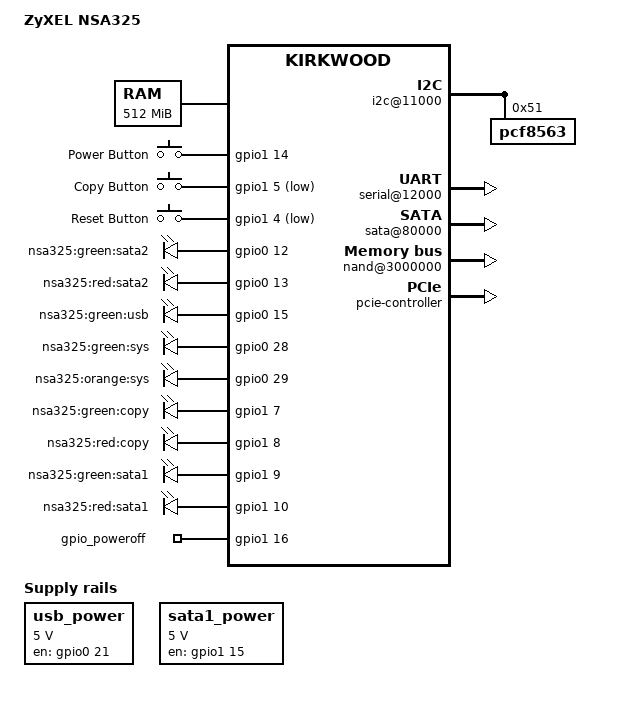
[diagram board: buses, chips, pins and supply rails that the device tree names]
/dts-v1/;

/include/ "kirkwood.dtsi"
/include/ "kirkwood-6282.dtsi"

/ {
	model = "ZyXEL NSA325";
	compatible = "zyxel,nsa325", "marvell,kirkwood-88f6282", "marvell,kirkwood";

	memory {
		device_type = "memory";
		reg = <0x00000000 0x20000000>;
	};

	chosen {
		bootargs = "console=ttyS0,115200";
	};

	ocp@f1000000 {
		pinctrl: pinctrl@10000 {
			pmx_led_sata2_green: pmx-led-sata2-green {
				marvell,pins = "mpp12";
				marvell,function = "gpo";
			};

			pmx_led_sata2_red: pmx-led-sata2-red {
				marvell,pins = "mpp13";
				marvell,function = "gpio";
			};

			pmx_led_mcu_data: pmx-led-mcu-data {
				marvell,pins = "mpp14";
				marvell,function = "gpio";
			};

			pmx_led_usb_green: pmx-led-usb-green {
				marvell,pins = "mpp15";
				marvell,function = "gpio";
			};

			pmx_led_mcu_clk: pmx-led-mcu-clk {
				marvell,pins = "mpp16";
				marvell,function = "gpio";
			};

			pmx_led_mcu_act: pmx-led-mcu-act {
				marvell,pins = "mpp17";
				marvell,function = "gpio";
			};

			pmx_usb_power_off: pmx-usb-power-off {
				marvell,pins = "mpp21";
				marvell,function = "gpio";
			};

			pmx_led_sys_green: pmx-led-sys-green {
				marvell,pins = "mpp28";
				marvell,function = "gpio";
			};

			pmx_led_sys_orange: pmx-led-sys-orange {
				marvell,pins = "mpp29";
				marvell,function = "gpio";
			};

			pmx_btn_reset: pmx-btn-reset {
				marvell,pins = "mpp36";
				marvell,function = "gpio";
			};

			pmx_btn_copy: pmx-btn-copy {
				marvell,pins = "mpp37";
				marvell,function = "gpio";
			};

			pmx_led_copy_green: pmx-led-copy-green {
				marvell,pins = "mpp39";
				marvell,function = "gpio";
			};

			pmx_led_copy_red: pmx-led-copy-red {
				marvell,pins = "mpp40";
				marvell,function = "gpio";
			};

			pmx_led_sata1_green: pmx-led-sata1-green {
				marvell,pins = "mpp41";
				marvell,function = "gpio";
			};

			pmx_led_sata1_red: pmx-led-sata1-red {
				marvell,pins = "mpp42";
				marvell,function = "gpio";
			};

			pmx_beeper: pmx-beeper {
				marvell,pins = "mpp44";
				marvell,function = "gpio";
			};

			pmx_btn_power: pmx-btn-power {
				marvell,pins = "mpp46";
				marvell,function = "gpio";
			};

			pmx_pwr_sata1: pmx-pwr-sata1 {
				marvell,pins = "mpp47";
				marvell,function = "gpio";
			};

			pmx_pwr_off: pmx-pwr-off {
				marvell,pins = "mpp48";
				marvell,function = "gpio";
			};
		};

		/* This board uses the pcf8563 RTC instead of the SoC RTC */
		rtc@10300 {
			status = "disabled";
		};

		i2c@11000 {
			status = "okay";
			pinctrl-0 = <&pmx_twsi0>;
			pinctrl-names = "default";

			pcf8563: pcf8563@51 {
				compatible = "pcf8563";
				reg = <0x51>;
			};
		};

		serial@12000 {
			pinctrl-0 = <&pmx_uart0>;
			pinctrl-names = "default";
			status = "ok";
		};

		sata@80000 {
			status = "okay";
			nr-ports = <2>;
		};

		nand@3000000 {
			pinctrl-0 = <&pmx_nand>;
			pinctrl-names = "default";
			status = "okay";
			chip-delay = <35>;

			partition@0 {
				label = "uboot";
				reg = <0x0000000 0x0100000>;
				read-only;
			};
			partition@100000 {
				label = "uboot_env";
				reg = <0x0100000 0x0080000>;
			};
			partition@180000 {
				label = "key_store";
				reg = <0x0180000 0x0080000>;
			};
			partition@200000 {
				label = "info";
				reg = <0x0200000 0x0080000>;
			};
			partition@280000 {
				label = "etc";
				reg = <0x0280000 0x0a00000>;
			};
			partition@c80000 {
				label = "kernel_1";
				reg = <0x0c80000 0x0a00000>;
			};
			partition@1680000 {
				label = "rootfs1";
				reg = <0x1680000 0x2fc0000>;
			};
			partition@4640000 {
				label = "kernel_2";
				reg = <0x4640000 0x0a00000>;
			};
			partition@5040000 {
				label = "rootfs2";
				reg = <0x5040000 0x2fc0000>;
			};
		};

		pcie-controller {
			status = "okay";

			pcie@1,0 {
				status = "okay";
			};
		};
	};

	gpio_keys {
		compatible = "gpio-keys";
		#address-cells = <1>;
		#size-cells = <0>;
		pinctrl-0 = <&pmx_btn_power &pmx_btn_copy &pmx_btn_reset>;
		pinctrl-names = "default";

		button@1 {
			label = "Power Button";
			linux,code = <116>;
			gpios = <&gpio1 14 0>;
		};

		button@2 {
			label = "Copy Button";
			linux,code = <133>;
			gpios = <&gpio1 5 1>;
		};

		button@3 {
			label = "Reset Button";
			linux,code = <0x198>;
			gpios = <&gpio1 4 1>;
		};
	};

	gpio-leds {
		compatible = "gpio-leds";
		pinctrl-0 = <&pmx_led_sata1_green &pmx_led_sata1_red
			     &pmx_led_sata2_green &pmx_led_sata2_red
			     &pmx_led_sys_green &pmx_led_sys_orange
			     &pmx_led_copy_green &pmx_led_copy_red
			     &pmx_led_usb_green>;
		pinctrl-names = "default";

		green-sata2 {
			label = "nsa325:green:sata2";
			gpios = <&gpio0 12 0>;
		};

		red-sata2 {
			label = "nsa325:red:sata2";
			gpios = <&gpio0 13 0>;
		};

		green-usb {
			label = "nsa325:green:usb";
			gpios = <&gpio0 15 0>;
		};

		green-sys {
			label = "nsa325:green:sys";
			gpios = <&gpio0 28 0>;
			linux,default-trigger = "default-on";
		};

		orange-sys {
			label = "nsa325:orange:sys";
			gpios = <&gpio0 29 0>;
			linux,default-trigger = "cpu0";
		};

		green-copy {
			label = "nsa325:green:copy";
			gpios = <&gpio1 7 0>;
		};

		red-copy {
			label = "nsa325:red:copy";
			gpios = <&gpio1 8 0>;
		};

		green-sata1 {
			label = "nsa325:green:sata1";
			gpios = <&gpio1 9 0>;
		};

		red-sata1 {
			label = "nsa325:red:sata1";
			gpios = <&gpio1 10 0>;
		};
	};

	gpio_poweroff {
		compatible = "gpio-poweroff";
		pinctrl-0 = <&pmx_pwr_off>;
		pinctrl-names = "default";
		gpios = <&gpio1 16 0>;
	};

	regulators {
		compatible = "simple-bus";
		#address-cells = <1>;
		#size-cells = <0>;
		pinctrl-0 = <&pmx_led_mcu_data &pmx_usb_power_off &pmx_pwr_sata1>;
		pinctrl-names = "default";

/*
		watchdog_data: regulator@1 {
			compatible = "regulator-fixed";
			regulator-name = "Watchdog Data";
			regulator-min-microvolt = <5000000>;
			regulator-max-microvolt = <5000000>;
			regulator-always-on;
			regulator-boot-on;
			gpio = <&gpio0 14 0>;
		};
*/

		usb_power: regulator@2 {
			compatible = "regulator-fixed";
			regulator-name = "USB Power";
			regulator-min-microvolt = <5000000>;
			regulator-max-microvolt = <5000000>;
			regulator-always-on;
			regulator-boot-on;
			enable-active-high;
			gpio = <&gpio0 21 0>;
		};

		sata1_power: regulator@3 {
			compatible = "regulator-fixed";
			regulator-name = "SATA1 Power";
			regulator-min-microvolt = <5000000>;
			regulator-max-microvolt = <5000000>;
			regulator-always-on;
			regulator-boot-on;
			enable-active-high;
			gpio = <&gpio1 15 0>;
		};
	};
};
